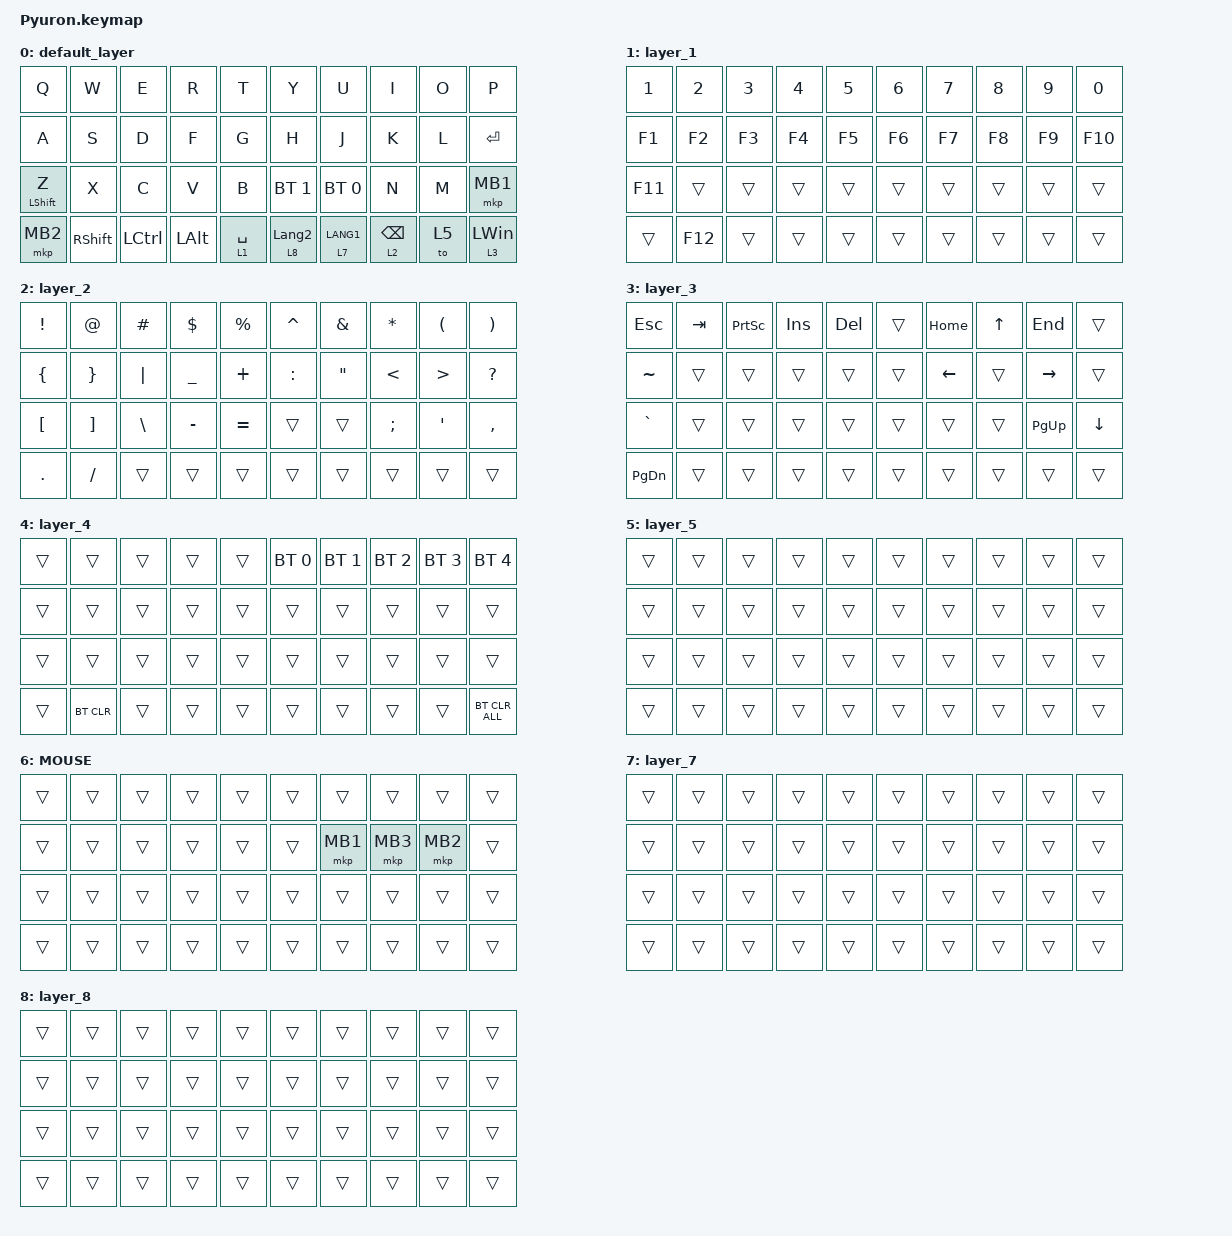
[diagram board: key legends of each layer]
#include <behaviors.dtsi>
#include <dt-bindings/zmk/bt.h>
#include <dt-bindings/zmk/keys.h>
#include <dt-bindings/zmk/pointing.h>

#define MOUSE 6

&mt {
    flavor = "balanced";
    quick-tap-ms = <0>;
};

/ {
    combos {
        compatible = "zmk,combos";

        BLE {
            bindings = <&lt 4 ESC>;
            key-positions = <25 26>;
        };
    };

    macros {
        to_layer_0: to_layer_0 {
            compatible = "zmk,behavior-macro-one-param";
            #binding-cells = <1>;
            bindings = <&to 0 &macro_param_1to1 &kp MACRO_PLACEHOLDER>;
            label = "TO_LAYER_0";
        };
    };

    lt_to_layer_0: lt_to_layer_0 {
        compatible = "zmk,behavior-hold-tap";
        label = "LAYER_TAP_TO_0";
        bindings = <&mo>, <&to_layer_0>;

        #binding-cells = <2>;
        tapping-term-ms = <200>;
    };
};

/ {
    behaviors {
    };

    keymap {
        compatible = "zmk,keymap";

        default_layer {
            bindings = <
&kp Q             &kp W      &kp E      &kp R     &kp T        &kp Y             &kp U         &kp I            &kp O  &kp P
&kp A             &kp S      &kp D      &kp F     &kp G        &kp H             &kp J         &kp K            &kp L  &kp ENTER
&mt LEFT_SHIFT Z  &kp X      &kp C      &kp V     &kp B        &bt BT_SEL 1      &bt BT_SEL 0  &kp N            &kp M  &mkp MB1
&mkp MB2          &kp RSHFT  &kp LCTRL  &kp LALT  &lt 1 SPACE  &lt 8 LANGUAGE_2  &lt 7 LANG1   &lt 2 BACKSPACE  &to 5  &lt 3 LEFT_WIN
            >;
        };

        layer_1 {
            bindings = <
&kp NUMBER_1  &kp NUMBER_2  &kp NUMBER_3  &kp NUMBER_4  &kp N5  &kp NUMBER_6  &kp NUMBER_7  &kp NUMBER_8  &kp NUMBER_9  &kp NUMBER_0
&kp F1        &kp F2        &kp F3        &kp F4        &kp F5  &kp F6        &kp F7        &kp F8        &kp F9        &kp F10
&kp F11       &trans        &trans        &trans        &trans  &trans        &trans        &trans        &trans        &trans
&trans        &kp F12       &trans        &trans        &trans  &trans        &trans        &trans        &trans        &trans
            >;
        };

        layer_2 {
            bindings = <
&kp EXCLAMATION   &kp AT_SIGN        &kp HASH       &kp DOLLAR      &kp PERCENT  &kp CARET  &kp AMPERSAND      &kp ASTRK      &kp LEFT_PARENTHESIS  &kp RIGHT_PARENTHESIS
&kp LEFT_BRACE    &kp RIGHT_BRACE    &kp PIPE       &kp UNDERSCORE  &kp PLUS     &kp COLON  &kp DOUBLE_QUOTES  &kp LESS_THAN  &kp GREATER_THAN      &kp QUESTION
&kp LEFT_BRACKET  &kp RIGHT_BRACKET  &kp BACKSLASH  &kp MINUS       &kp EQUAL    &trans     &trans             &kp SEMICOLON  &kp SINGLE_QUOTE      &kp COMMA
&kp PERIOD        &kp SLASH          &trans         &trans          &trans       &trans     &trans             &trans         &trans                &trans
            >;
        };

        layer_3 {
            bindings = <
&kp ESCAPE     &kp TAB  &kp PRINTSCREEN  &kp INSERT  &kp DELETE  &trans  &kp HOME        &kp UP_ARROW  &kp END          &trans
&kp TILDE      &trans   &trans           &trans      &trans      &trans  &kp LEFT_ARROW  &trans        &kp RIGHT_ARROW  &trans
&kp GRAVE      &trans   &trans           &trans      &trans      &trans  &trans          &trans        &kp PAGE_UP      &kp DOWN_ARROW
&kp PAGE_DOWN  &trans   &trans           &trans      &trans      &trans  &trans          &trans        &trans           &trans
            >;
        };

        layer_4 {
            bindings = <
&trans  &trans      &trans  &trans  &trans  &bt BT_SEL 0  &bt BT_SEL 1  &bt BT_SEL 2  &bt BT_SEL 3  &bt BT_SEL 4
&trans  &trans      &trans  &trans  &trans  &trans        &trans        &trans        &trans        &trans
&trans  &trans      &trans  &trans  &trans  &trans        &trans        &trans        &trans        &trans
&trans  &bt BT_CLR  &trans  &trans  &trans  &trans        &trans        &trans        &trans        &bt BT_CLR_ALL
            >;
        };

        layer_5 {
            bindings = <
&trans  &trans  &trans  &trans  &trans  &trans  &trans  &trans  &trans  &trans
&trans  &trans  &trans  &trans  &trans  &trans  &trans  &trans  &trans  &trans
&trans  &trans  &trans  &trans  &trans  &trans  &trans  &trans  &trans  &trans
&trans  &trans  &trans  &trans  &trans  &trans  &trans  &trans  &trans  &trans
            >;
        };

        MOUSE {
            bindings = <
&trans  &trans  &trans  &trans  &trans  &trans  &trans    &trans    &trans    &trans
&trans  &trans  &trans  &trans  &trans  &trans  &mkp MB1  &mkp MB3  &mkp MB2  &trans
&trans  &trans  &trans  &trans  &trans  &trans  &trans    &trans    &trans    &trans
&trans  &trans  &trans  &trans  &trans  &trans  &trans    &trans    &trans    &trans
            >;
        };

        layer_7 {
            bindings = <
&trans  &trans  &trans  &trans  &trans  &trans  &trans  &trans  &trans  &trans
&trans  &trans  &trans  &trans  &trans  &trans  &trans  &trans  &trans  &trans
&trans  &trans  &trans  &trans  &trans  &trans  &trans  &trans  &trans  &trans
&trans  &trans  &trans  &trans  &trans  &trans  &trans  &trans  &trans  &trans
            >;
        };

        layer_8 {
            bindings = <
&trans  &trans  &trans  &trans  &trans  &trans  &trans  &trans  &trans  &trans
&trans  &trans  &trans  &trans  &trans  &trans  &trans  &trans  &trans  &trans
&trans  &trans  &trans  &trans  &trans  &trans  &trans  &trans  &trans  &trans
&trans  &trans  &trans  &trans  &trans  &trans  &trans  &trans  &trans  &trans
            >;
        };
    };
};
